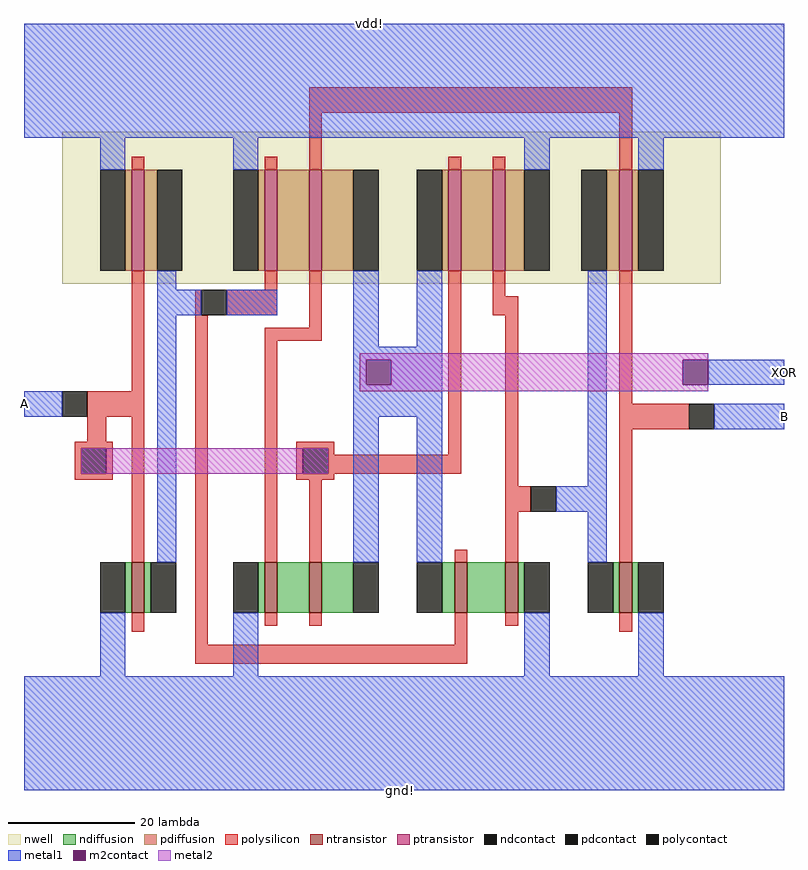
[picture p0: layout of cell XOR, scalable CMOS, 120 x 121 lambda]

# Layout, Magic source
magic
tech scmos
<< nwell >>
rect -16 50 88 74
<< polysilicon >>
rect 23 77 74 81
rect -5 68 -3 70
rect 16 68 18 70
rect 23 68 25 77
rect 45 68 47 70
rect 52 68 54 70
rect 72 68 74 77
rect -5 33 -3 52
rect 16 49 18 52
rect -12 29 -3 33
rect -12 25 -9 29
rect -14 24 -8 25
rect -14 20 -13 24
rect -9 20 -8 24
rect -14 19 -8 20
rect -5 6 -3 29
rect 5 45 6 49
rect 10 45 18 49
rect -5 -5 -3 -2
rect 5 -7 7 45
rect 23 43 25 52
rect 16 41 25 43
rect 16 6 18 41
rect 21 24 27 25
rect 21 20 22 24
rect 26 23 27 24
rect 45 23 47 52
rect 52 48 54 52
rect 52 45 56 48
rect 26 20 47 23
rect 21 19 27 20
rect 23 6 25 19
rect 54 18 56 45
rect 72 31 74 52
rect 72 27 83 31
rect 54 14 58 18
rect 46 6 48 8
rect 54 6 56 14
rect 72 6 74 27
rect 16 -4 18 -2
rect 23 -4 25 -2
rect 46 -7 48 -2
rect 54 -4 56 -2
rect 72 -5 74 -2
rect 5 -10 48 -7
<< ndiffusion >>
rect -6 -2 -5 6
rect -3 -2 -2 6
rect 15 -2 16 6
rect 18 -2 23 6
rect 25 -2 30 6
rect 44 -2 46 6
rect 48 -2 54 6
rect 56 -2 57 6
rect 71 -2 72 6
rect 74 -2 75 6
<< pdiffusion >>
rect -6 52 -5 68
rect -3 52 -1 68
rect 15 52 16 68
rect 18 52 23 68
rect 25 52 30 68
rect 44 52 45 68
rect 47 52 52 68
rect 54 52 57 68
rect 70 52 72 68
rect 74 52 75 68
<< metal1 >>
rect -22 73 98 91
rect -10 68 -6 73
rect 11 68 15 73
rect 57 68 61 73
rect 75 68 79 73
rect -1 49 2 52
rect -1 45 6 49
rect 10 45 18 49
rect -22 29 -16 33
rect -1 6 2 45
rect 30 40 34 52
rect 40 40 44 52
rect 30 38 44 40
rect 30 34 32 38
rect 36 34 44 38
rect 30 29 44 34
rect 30 6 34 29
rect 40 6 44 29
rect 67 18 70 52
rect 86 34 98 38
rect 87 27 98 31
rect 62 14 70 18
rect 67 6 70 14
rect -10 -12 -6 -2
rect 11 -12 15 -2
rect 57 -12 61 -2
rect 75 -12 79 -2
rect -22 -30 98 -12
<< metal2 >>
rect 31 38 86 39
rect 31 34 32 38
rect 36 34 82 38
rect 31 33 86 34
rect -13 20 26 24
<< ntransistor >>
rect -5 -2 -3 6
rect 16 -2 18 6
rect 23 -2 25 6
rect 46 -2 48 6
rect 54 -2 56 6
rect 72 -2 74 6
<< ptransistor >>
rect -5 52 -3 68
rect 16 52 18 68
rect 23 52 25 68
rect 45 52 47 68
rect 52 52 54 68
rect 72 52 74 68
<< polycontact >>
rect -16 29 -12 33
rect -13 20 -9 24
rect 6 45 10 49
rect 22 20 26 24
rect 83 27 87 31
rect 58 14 62 18
<< ndcontact >>
rect -10 -2 -6 6
rect -2 -2 2 6
rect 11 -2 15 6
rect 30 -2 34 6
rect 40 -2 44 6
rect 57 -2 61 6
rect 67 -2 71 6
rect 75 -2 79 6
<< pdcontact >>
rect -10 52 -6 68
rect -1 52 3 68
rect 11 52 15 68
rect 30 52 34 68
rect 40 52 44 68
rect 57 52 61 68
rect 66 52 70 68
rect 75 52 79 68
<< m2contact >>
rect 32 34 36 38
rect 82 34 86 38
<< labels >>
rlabel metal1 -3 91 68 91 5 vdd!
rlabel metal1 2 -30 73 -30 1 gnd!
rlabel metal1 98 34 98 38 7 XOR
rlabel metal1 -22 29 -22 33 3 A
rlabel metal1 98 27 98 31 7 B
<< end >>
